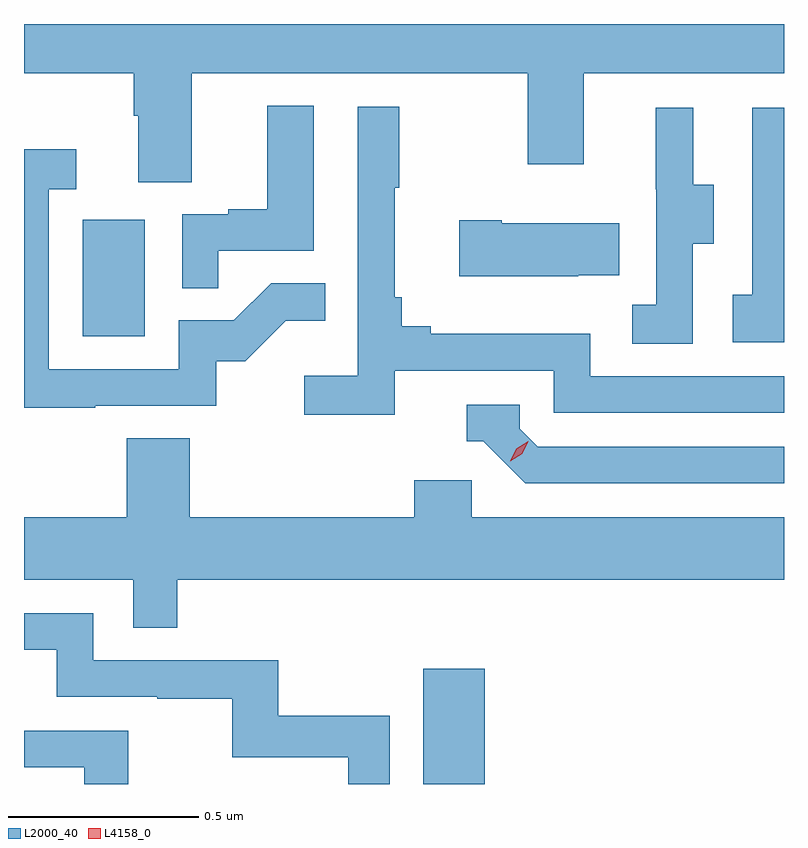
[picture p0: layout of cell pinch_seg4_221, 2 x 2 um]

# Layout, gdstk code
import gdstk
lib = gdstk.Library(unit=1e-6, precision=1e-09)
def R(c, l, rs):  # rectangles x0, y0, x1, y1
    for r in rs: c.add(gdstk.rectangle(r[:2], r[2:], *l))
def P(c, l, *ps):  # polygons
    for p in ps: c.add(gdstk.Polygon(p, *l))
L2000_40 = (2000, 40)
L4158_0 = (4158, 0)

pinch_seg4_221 = lib.new_cell('pinch_seg4_221')
R(pinch_seg4_221, L2000_40, [(1014.257,822.922,1014.418,823.225), (1013.36,824.1,1013.524,824.407)])
P(pinch_seg4_221, L2000_40, [(1013.647,824.792),(1014.532,824.792),(1014.532,824.553),(1014.679,824.553),(1014.679,824.792),(1015.206,824.792),(1015.206,824.922),(1013.206,824.922),(1013.206,824.792),(1013.495,824.792),(1013.495,824.68),(1013.507,824.68),(1013.507,824.506),(1013.647,824.506)],
  [(1013.717,824.325),(1013.968,824.325),(1013.968,824.707),(1013.846,824.707),(1013.846,824.434),(1013.743,824.434),(1013.743,824.421),(1013.622,824.421),(1013.622,824.227),(1013.717,824.227)],
  [(1014.182,824.01),(1014.6,824.01),(1014.6,823.899),(1015.206,823.899),(1015.206,823.995),(1014.696,823.995),(1014.696,824.107),(1014.277,824.107),(1014.277,824.126),(1014.2,824.126),(1014.2,824.203),(1014.181,824.203),(1014.181,824.491),(1014.193,824.491),(1014.193,824.704),(1014.084,824.704),(1014.084,823.996),(1013.943,823.996),(1013.943,823.894),(1014.182,823.894)],
  [(1015.206,824.701),(1015.122,824.701),(1015.122,824.21),(1015.071,824.21),(1015.071,824.085),(1015.206,824.085)],
  [(1014.966,824.344),(1015.021,824.344),(1015.021,824.499),(1014.967,824.499),(1014.967,824.701),(1014.869,824.701),(1014.869,824.487),(1014.87,824.487),(1014.87,824.183),(1014.807,824.183),(1014.807,824.08),(1014.966,824.08)],
  [(1013.393,823.917),(1013.712,823.917),(1013.712,824.034),(1013.788,824.034),(1013.895,824.141),(1013.999,824.141),(1013.999,824.24),(1013.856,824.24),(1013.758,824.142),(1013.613,824.142),(1013.613,824.013),(1013.271,824.013),(1013.271,824.487),(1013.344,824.487),(1013.344,824.593),(1013.206,824.593),(1013.206,823.912),(1013.393,823.912)],
  [(1014.665,824.261),(1014.773,824.261),(1014.773,824.398),(1014.463,824.398),(1014.463,824.406),(1014.351,824.406),(1014.351,824.258),(1014.665,824.258)],
  [(1015.206,823.809),(1014.558,823.809),(1014.51,823.857),(1014.51,823.92),(1014.371,823.92),(1014.371,823.824),(1014.414,823.824),(1014.525,823.713),(1015.206,823.713)],
  [(1013.609,823.46),(1015.206,823.46),(1015.206,823.624),(1014.384,823.624),(1014.384,823.722),(1014.233,823.722),(1014.233,823.624),(1013.642,823.624),(1013.642,823.832),(1013.477,823.832),(1013.477,823.624),(1013.206,823.624),(1013.206,823.46),(1013.493,823.46),(1013.493,823.333),(1013.609,823.333)],
  [(1014.168,823.102),(1013.875,823.102),(1013.875,823.248),(1013.388,823.248),(1013.388,823.371),(1013.206,823.371),(1013.206,823.275),(1013.292,823.275),(1013.292,823.152),(1013.557,823.152),(1013.557,823.147),(1013.754,823.147),(1013.754,822.992),(1014.059,822.992),(1014.059,822.922),(1014.168,822.922)],
  [(1013.48,823.062),(1013.206,823.062),(1013.206,822.966),(1013.364,822.966),(1013.364,822.922),(1013.48,822.922)])
P(pinch_seg4_221, L4158_0, [(1014.486,823.772),(1014.486,823.772),(1014.502,823.804),(1014.533,823.824),(1014.533,823.824),(1014.533,823.824),(1014.517,823.791),(1014.486,823.772)])

lib.write_gds('pinch_seg4_221.gds')
